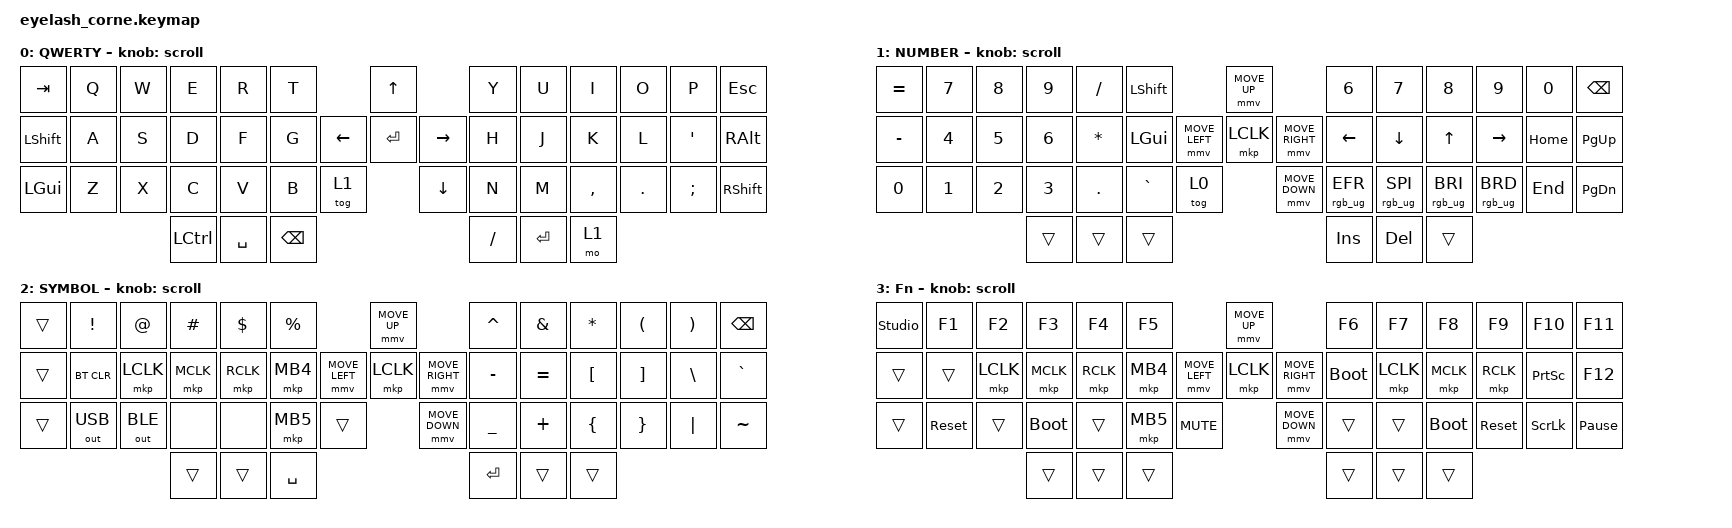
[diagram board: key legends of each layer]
#define ZMK_POINTING_DEFAULT_MOVE_VAL 1200  // 600
#define ZMK_POINTING_DEFAULT_SCRL_VAL 25   // 10

#include <input/processors.dtsi>
#include <zephyr/dt-bindings/input/input-event-codes.h>
#include <behaviors.dtsi>
#include <behaviors/runtime-sensor-rotate.dtsi>
#include <dt-bindings/zmk/bt.h>
#include <dt-bindings/zmk/keys.h>
#include <dt-bindings/zmk/outputs.h>
#include <dt-bindings/zmk/pointing.h>
#include <dt-bindings/zmk/rgb.h>

&soft_off { hold-time-ms = <2000>; };

/ {
    behaviors {
        scroll: scroll {
            compatible = "zmk,behavior-sensor-rotate";
            #sensor-binding-cells = <0>;
            bindings = <&kp PG_UP>, <&kp PG_DN>;
        };

        rsr_trans: rsr_trans {
            compatible = "zmk,behavior-runtime-sensor-rotate";
            #sensor-binding-cells = <0>;
            tap-ms = <0>;
        };
    };

   combos {
        compatible = "zmk,combos";

        softoff {
            bindings = <&soft_off>;
            key-positions = <1 15 29>;
        };
    };

    keymap {
        compatible = "zmk,keymap";

        default_layer {
    display-name = "QWERTY";
    bindings = <&kp TAB    &kp Q  &kp W  &kp E     &kp R     &kp T                               &kp UP                &kp Y        &kp U  &kp I      &kp O    &kp P     &kp ESC
&kp LSHFT  &kp A  &kp S  &kp D     &kp F     &kp G                     &kp LEFT  &kp ENTER  &kp RIGHT  &kp H        &kp J  &kp K      &kp L    &kp SQT   &kp RALT
&kp LGUI   &kp Z  &kp X  &kp C     &kp V     &kp B        &tog 1                 &kp DOWN              &kp N        &kp M  &kp COMMA  &kp DOT  &kp SEMI  &kp RSHFT
                         &kp LCTRL  &kp SPACE  &kp BSPC                                                &kp FSLH  &kp ENTER  &mo 1
    >;

        sensor-bindings = <&scroll>;
      };

lower_layer {
    display-name = "NUMBER";
    bindings = <&kp EQUAL  &kp N7  &kp N8  &kp N9  &kp FSLH   &kp LSHFT                                      &mmv MOVE_UP                     &kp N6           &kp N7           &kp N8           &kp N9           &kp N0    &kp BSPC
&kp MINUS  &kp N4  &kp N5  &kp N6  &kp ASTRK  &kp LGUI                       &mmv MOVE_LEFT  &mkp LCLK       &mmv MOVE_RIGHT  &kp LEFT         &kp DOWN         &kp UP           &kp RIGHT        &kp HOME  &kp PG_UP
&kp N0     &kp N1  &kp N2  &kp N3  &kp DOT    &kp GRAVE  &tog 0                              &mmv MOVE_DOWN                   &rgb_ug RGB_EFR  &rgb_ug RGB_SPI  &rgb_ug RGB_BRI  &rgb_ug RGB_BRD  &kp END   &kp PG_DN
                                   &trans     &trans     &trans                                                               &kp INS          &kp DEL          &trans
    >;

    sensor-bindings = <&scroll>;
};


        raise_layer {
            display-name = "SYMBOL";
            bindings = <&trans  &kp EXCL      &kp AT        &kp HASH   &kp DLLR   &kp PRCNT                            &mmv MOVE_UP                     &kp CARET  &kp AMPS   &kp ASTRK  &kp LPAR  &kp RPAR  &kp BSPC
&trans  &bt BT_CLR    &mkp LCLK     &mkp MCLK  &mkp RCLK  &mkp MB4             &mmv MOVE_LEFT  &mkp LCLK       &mmv MOVE_RIGHT  &kp MINUS  &kp EQUAL  &kp LBKT   &kp RBKT  &kp BSLH  &kp GRAVE
&trans  &out OUT_USB  &out OUT_BLE  &none      &none      &mkp MB5   &trans                    &mmv MOVE_DOWN                   &kp UNDER  &kp PLUS   &kp LBRC   &kp RBRC  &kp PIPE  &kp TILDE
                                    &trans     &trans     &kp SPACE                                                             &kp RET    &trans     &trans
            >;

            sensor-bindings = <&scroll>;
        };

        layer_3 {
            display-name = "Fn";
            bindings = <&studio_unlock  &kp F1      &kp F2     &kp F3       &kp F4     &kp F5                                  &mmv MOVE_UP                     &kp F6       &kp F7     &kp F8       &kp F9      &kp F10          &kp F11
&trans          &trans      &mkp LCLK  &mkp MCLK    &mkp RCLK  &mkp MB4                &mmv MOVE_LEFT  &mkp LCLK       &mmv MOVE_RIGHT  &bootloader  &mkp LCLK  &mkp MCLK    &mkp RCLK   &kp PRINTSCREEN  &kp F12
&trans          &sys_reset  &trans     &bootloader  &trans     &mkp MB5  &kp C_MUTE                    &mmv MOVE_DOWN                   &trans       &trans     &bootloader  &sys_reset  &kp SCROLLLOCK   &kp PAUSE_BREAK
                                       &trans       &trans     &trans                                                                   &trans       &trans     &trans
            >;

            sensor-bindings = <&scroll>;
        };
    };
};
